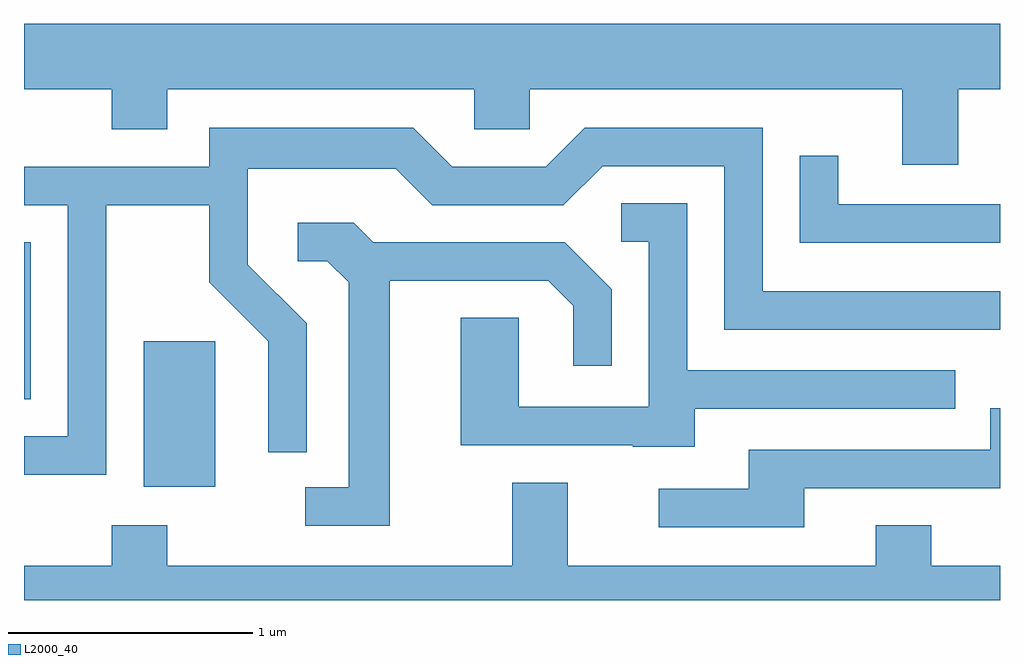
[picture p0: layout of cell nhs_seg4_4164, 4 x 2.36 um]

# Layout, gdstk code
import gdstk
lib = gdstk.Library(unit=1e-6, precision=1e-09)
def R(c, l, rs):  # rectangles x0, y0, x1, y1
    for r in rs: c.add(gdstk.rectangle(r[:2], r[2:], *l))
def P(c, l, *ps):  # polygons
    for p in ps: c.add(gdstk.Polygon(p, *l))
L2000_40 = (2000, 40)

nhs_seg4_4164 = lib.new_cell('nhs_seg4_4164')
R(nhs_seg4_4164, L2000_40, [(308.101,1286.446,308.394,1287.044), (307.611,1286.806,307.639,1287.449)])
P(nhs_seg4_4164, L2000_40, [(307.611,1288.076),(307.971,1288.076),(307.971,1287.911),(308.199,1287.911),(308.199,1288.076),(309.456,1288.076),(309.456,1287.911),(309.684,1287.911),(309.684,1288.076),(311.211,1288.076),(311.211,1287.766),(311.439,1287.766),(311.439,1288.076),(311.611,1288.076),(311.611,1288.344),(307.611,1288.344)],
  [(307.949,1287.601),(308.371,1287.601),(308.371,1287.284),(308.611,1287.044),(308.611,1286.588),(308.769,1286.588),(308.769,1287.117),(308.529,1287.357),(308.529,1287.751),(309.134,1287.751),(309.284,1287.601),(309.822,1287.601),(309.982,1287.761),(310.481,1287.761),(310.481,1287.091),(311.611,1287.091),(311.611,1287.249),(310.639,1287.249),(310.639,1287.919),(309.909,1287.919),(309.749,1287.759),(309.367,1287.759),(309.207,1287.919),(308.371,1287.919),(308.371,1287.759),(307.611,1287.759),(307.611,1287.601),(307.791,1287.601),(307.791,1286.654),(307.611,1286.654),(307.611,1286.496),(307.949,1286.496)],
  [(311.611,1287.604),(310.949,1287.604),(310.949,1287.803),(310.791,1287.803),(310.791,1287.446),(311.611,1287.446)],
  [(310.359,1286.766),(311.428,1286.766),(311.428,1286.924),(310.329,1286.924),(310.329,1287.609),(310.058,1287.609),(310.058,1287.451),(310.171,1287.451),(310.171,1286.774),(309.639,1286.774),(309.639,1287.139),(309.401,1287.139),(309.401,1286.616),(310.105,1286.616),(310.105,1286.611),(310.359,1286.611)],
  [(309.109,1287.291),(309.759,1287.291),(309.861,1287.189),(309.861,1286.943),(310.019,1286.943),(310.019,1287.257),(309.827,1287.449),(309.042,1287.449),(308.962,1287.529),(308.733,1287.529),(308.733,1287.371),(308.854,1287.371),(308.941,1287.284),(308.941,1286.444),(308.763,1286.444),(308.763,1286.286),(309.109,1286.286)],
  [(310.809,1286.441),(311.611,1286.441),(311.611,1286.769),(311.571,1286.769),(311.571,1286.599),(310.581,1286.599),(310.581,1286.439),(310.213,1286.439),(310.213,1286.281),(310.809,1286.281)],
  [(311.611,1286.124),(311.329,1286.124),(311.329,1286.289),(311.101,1286.289),(311.101,1286.124),(309.839,1286.124),(309.839,1286.464),(309.611,1286.464),(309.611,1286.124),(308.199,1286.124),(308.199,1286.289),(307.971,1286.289),(307.971,1286.124),(307.611,1286.124),(307.611,1285.982),(311.611,1285.982)])

lib.write_gds('nhs_seg4_4164.gds')
